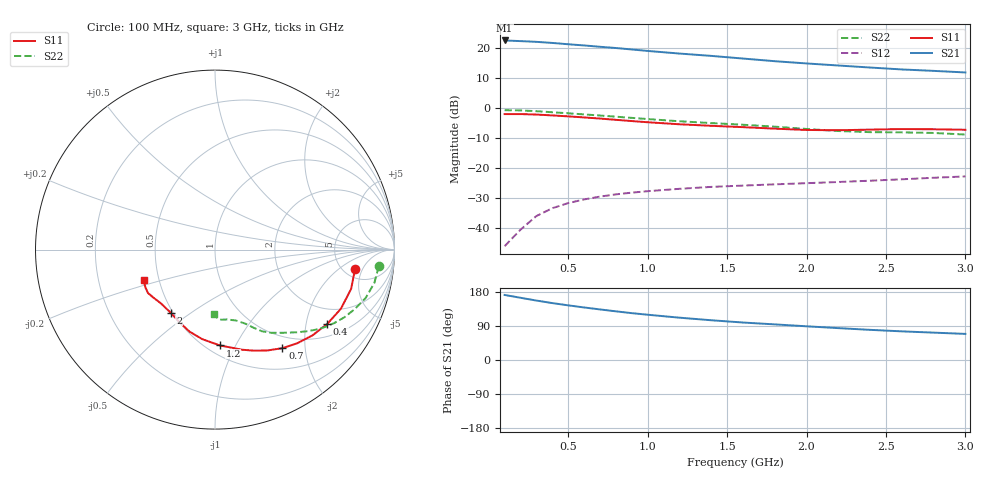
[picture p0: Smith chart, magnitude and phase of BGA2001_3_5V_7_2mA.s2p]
! Title: BGA2001
! Bias: Vce=3.5V,Ic=7.2mA
! Company: Philips Semiconductors NL
! User: Quality&Reliability T&D
! Measure time: 23 Oct 1998 / 09:20:53
#  MHz  S  MA  R 50
! Freq  S11  S21  S12  S22  :
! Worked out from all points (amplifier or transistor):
!   20 points, 100 MHz to 3 GHz, reference 50 ohm
!   highest |S21| = 22.4 dB at 100 MHz (marker M1)
!   |S21| within 3 dB of that: start of sweep to 900.7 MHz
!   unconditionally stable (mu >= 1): 1.929 GHz to end of sweep
!   at 400 MHz: K = 0.26, MSG = 27.5 dB, |S12| = -33.4 dB
!   at 1.2 GHz: K = 0.63, MSG = 22.5 dB, |S12| = -26.9 dB
!   at 3 GHz: K = 1.24, MAG = 14.3 dB, |S12| = -22.8 dB
!   S11 on the Smith chart (normalised r, x): 100 MHz: 6.33, -3.60; 400 MHz: 1.40, -2.65; 700 MHz: 0.81, -1.59; 1.2 GHz: 0.58, -0.87; 2 GHz: 0.49, -0.42; 3 GHz: 0.41, -0.17
100  0.7877 -7.9  13.23 171.7  0.005022 57.8  0.9166 -5.9
200  0.7895 -16.1  12.9 164.2  0.009435 78.6  0.9072 -11.7
300  0.775 -25.2  12.54 156.9  0.01592 78.0  0.8819 -17.8
400  0.75 -33.6  12.03 150.2  0.02148 73.5  0.847 -23.0
500  0.7234 -41.3  11.44 144.2  0.02612 69.3  0.8136 -27.6
600  0.6943 -48.8  10.93 138.7  0.03007 66.0  0.7797 -31.7
700  0.6652 -55.6  10.38 133.5  0.0335 63.1  0.7472 -35.4
800  0.6337 -62.5  9.904 128.4  0.03648 60.6  0.7146 -38.7
900  0.6041 -68.8  9.367 123.6  0.03898 58.7  0.6828 -41.8
1000  0.5774 -75.0  8.858 119.5  0.04122 57.1  0.6527 -44.9
1200  0.5345 -87.1  8.012 111.7  0.04513 54.7  0.5995 -50.6
1400  0.5039 -98.1  7.328 104.9  0.04858 53.2  0.5596 -55.9
1600  0.4785 -107.2  6.615 98.9  0.05108 52.9  0.5247 -60.1
1800  0.4518 -115.7  5.978 94.0  0.05357 53.8  0.4878 -63.5
2000  0.4296 -125.2  5.486 88.9  0.056 53.9  0.4465 -67.6
2200  0.4248 -134.9  5.07 84.1  0.05862 53.9  0.4124 -73.4
2400  0.4353 -142.2  4.692 79.6  0.06156 54.6  0.3952 -80.0
2600  0.4449 -147.0  4.359 75.6  0.06499 56.3  0.3919 -84.9
2800  0.4414 -151.4  4.127 72.2  0.06891 56.8  0.3832 -87.9
3000  0.4329 -156.7  3.884 68.9  0.07256 57.6  0.3603 -91.0
